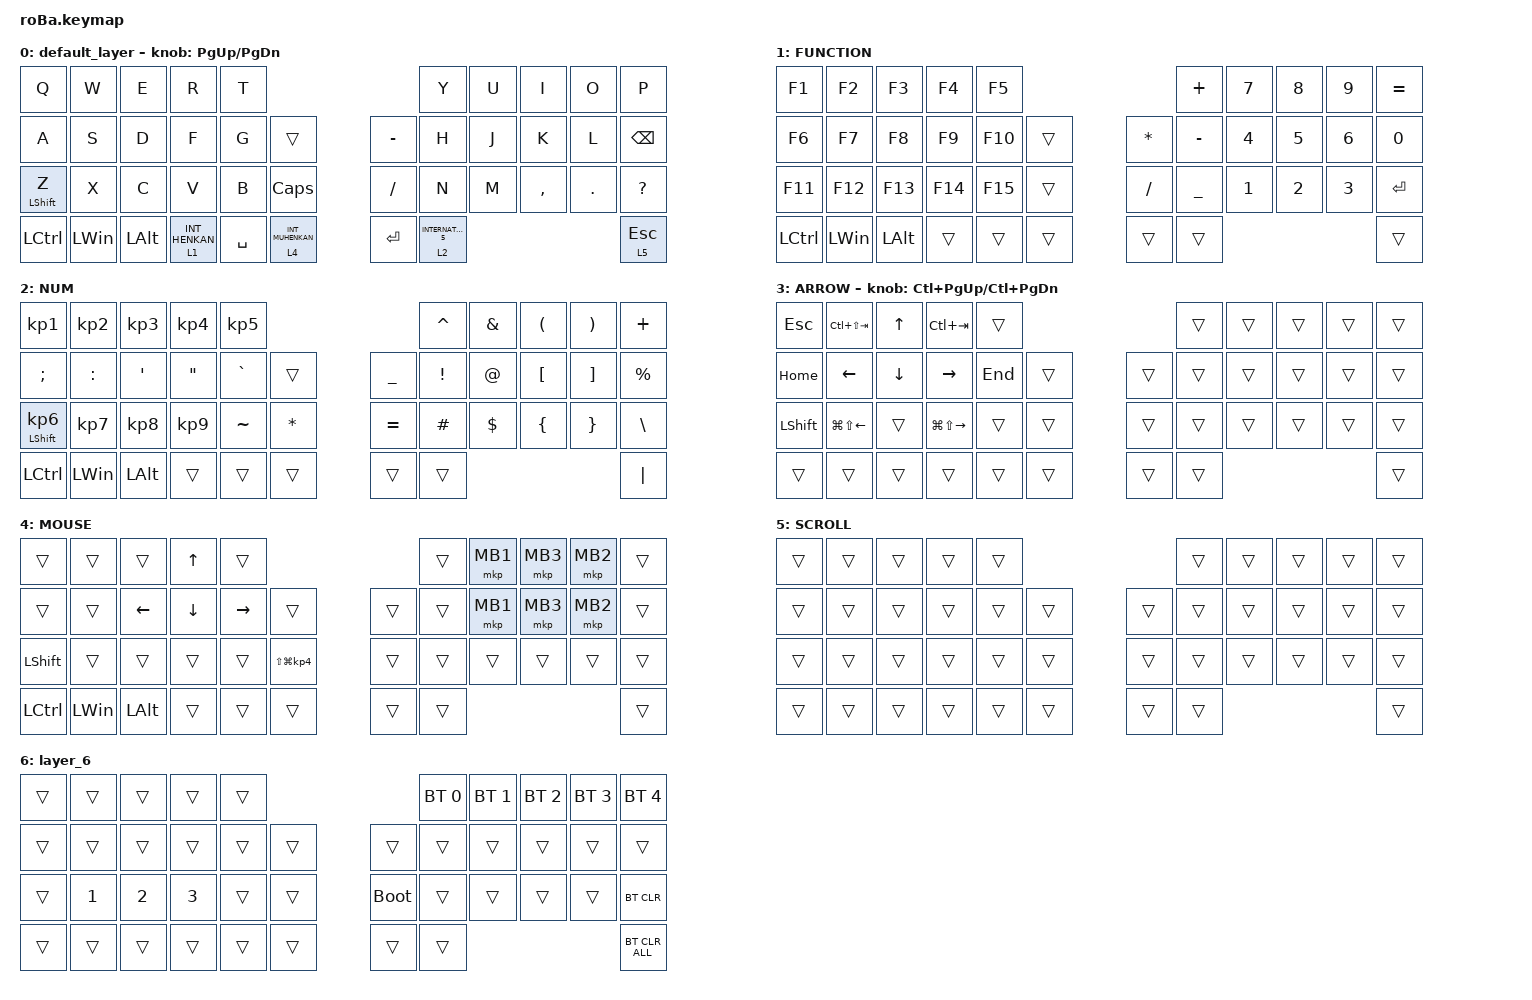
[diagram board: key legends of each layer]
#include <behaviors.dtsi>
#include <dt-bindings/zmk/bt.h>
#include <dt-bindings/zmk/keys.h>
#include <dt-bindings/zmk/pointing.h>

&mt {
    flavor = "balanced";
    quick-tap-ms = <0>;
};

&trackball {
    automouse-layer = <4>;
    scroll-layers = <5>;

    // arrows {
    //     layers = <3>;
    //     bindings =
    //         <&kp RIGHT_ARROW>,
    //         <&kp LEFT_ARROW>,
    //         <&kp UP_ARROW>,
    //         <&kp DOWN_ARROW>;
    //     tick = <10>;
    //     wait-ms = <5>;
    //     tap-ms = <5>;
    // };
};

/ {
    combos {
        compatible = "zmk,combos";

        tab {
            bindings = <&kp TAB>;
            key-positions = <11 12>;
        };

        shift_tab {
            bindings = <&kp LS(TAB)>;
            key-positions = <12 13>;
        };

        muhennkann {
            bindings = <&to_layer_0 INT_MUHENKAN>;
            key-positions = <11 10>;
        };

        double_quotation {
            bindings = <&kp DOUBLE_QUOTES>;
            key-positions = <20 21>;
        };

        eq {
            bindings = <&kp EQUAL>;
            key-positions = <24 25>;
        };
    };

    macros {
        to_layer_0: to_layer_0 {
            compatible = "zmk,behavior-macro-one-param";
            #binding-cells = <1>;
            bindings = <&to 0 &macro_param_1to1 &kp MACRO_PLACEHOLDER>;
            label = "TO_LAYER_0";
        };
    };

    behaviors {
        lt_to_layer_0: lt_to_layer_0 {
            compatible = "zmk,behavior-hold-tap";
            label = "LAYER_TAP_TO_0";
            bindings = <&mo>, <&to_layer_0>;

            #binding-cells = <2>;
            tapping-term-ms = <200>;
        };
    };

    keymap {
        compatible = "zmk,keymap";

        default_layer {
            bindings = <
&kp Q             &kp W         &kp E         &kp R                        &kp T                                                    &kp Y                  &kp U  &kp I      &kp O    &kp P
&kp A             &kp S         &kp D         &kp F                        &kp G      &trans                             &kp MINUS  &kp H                  &kp J  &kp K      &kp L    &kp BACKSPACE
&mt LEFT_SHIFT Z  &kp X         &kp C         &kp V                        &kp B      &kp CAPSLOCK                       &kp SLASH  &kp N                  &kp M  &kp COMMA  &kp DOT  &kp QUESTION
&kp LCTRL         &kp LEFT_WIN  &kp LEFT_ALT  &lt_to_layer_0 1 INT_HENKAN  &kp SPACE  &lt_to_layer_0 4 INT_MUHENKAN      &kp ENTER  &lt 2 INTERNATIONAL_5                             &lt 5 ESC
            >;

            sensor-bindings = <&inc_dec_kp PG_UP PAGE_DOWN>;
        };

        FUNCTION {
            bindings = <
&kp F1            &kp F2        &kp F3        &kp F4   &kp F5                             &kp PLUS        &kp NUMBER_7  &kp NUMBER_8  &kp NUMBER_9  &kp EQUAL
&kp F6            &kp F7        &kp F8        &kp F9   &kp F10  &trans      &kp ASTERISK  &kp MINUS       &kp NUMBER_4  &kp N5        &kp NUMBER_6  &kp NUMBER_0
&kp F11           &kp F12       &kp F13       &kp F14  &kp F15  &trans      &kp SLASH     &kp UNDERSCORE  &kp NUMBER_1  &kp NUMBER_2  &kp NUMBER_3  &kp ENTER
&kp LEFT_CONTROL  &kp LEFT_WIN  &kp LEFT_ALT  &trans   &trans   &trans      &trans        &trans                                                    &trans
            >;
        };

        NUM {
            bindings = <
&kp KP_NUMBER_1             &kp KP_NUMBER_2  &kp KP_NUMBER_3  &kp KP_NUMBER_4    &kp KP_NUMBER_5                                    &kp CARET        &kp AMPERSAND  &kp LEFT_PARENTHESIS  &kp RIGHT_PARENTHESIS  &kp PLUS
&kp SEMICOLON               &kp COLON        &kp SQT          &kp DOUBLE_QUOTES  &kp GRAVE        &trans            &kp UNDERSCORE  &kp EXCLAMATION  &kp AT_SIGN    &kp LEFT_BRACKET      &kp RIGHT_BRACKET      &kp PERCENT
&mt LEFT_SHIFT KP_NUMBER_6  &kp KP_NUMBER_7  &kp KP_NUMBER_8  &kp KP_NUMBER_9    &kp TILDE        &kp ASTERISK      &kp EQUAL       &kp HASH         &kp DOLLAR     &kp LEFT_BRACE        &kp RIGHT_BRACE        &kp BACKSLASH
&kp LEFT_CONTROL            &kp LEFT_WIN     &kp LEFT_ALT     &trans             &trans           &trans            &trans          &trans                                                                       &kp PIPE
            >;
        };

        ARROW {
            bindings = <
&kp ESCAPE      &kp LC(LS(TAB))         &kp UP_ARROW    &kp LC(TAB)              &trans                       &trans  &trans  &trans  &trans  &trans
&kp HOME        &kp LEFT_ARROW          &kp DOWN_ARROW  &kp RIGHT_ARROW          &kp END  &trans      &trans  &trans  &trans  &trans  &trans  &trans
&kp LEFT_SHIFT  &kp LG(LS(LEFT_ARROW))  &trans          &kp LG(LS(RIGHT_ARROW))  &trans   &trans      &trans  &trans  &trans  &trans  &trans  &trans
&trans          &trans                  &trans          &trans                   &trans   &trans      &trans  &trans                          &trans
            >;

            sensor-bindings = <&inc_dec_kp LC(PAGE_UP) LC(PAGE_DOWN)>;
        };

        MOUSE {
            bindings = <
&trans            &trans        &trans          &kp UP_ARROW    &trans                                                &trans  &mkp MB1  &mkp MB3  &mkp MB2  &trans
&trans            &trans        &kp LEFT_ARROW  &kp DOWN_ARROW  &kp RIGHT_ARROW  &trans                       &trans  &trans  &mkp MB1  &mkp MB3  &mkp MB2  &trans
&kp LEFT_SHIFT    &trans        &trans          &trans          &trans           &kp LS(LG(KP_NUMBER_4))      &trans  &trans  &trans    &trans    &trans    &trans
&kp LEFT_CONTROL  &kp LEFT_WIN  &kp LEFT_ALT    &trans          &trans           &trans                       &trans  &trans                                &trans
            >;
        };

        SCROLL {
            bindings = <
&trans  &trans  &trans  &trans  &trans                      &trans  &trans  &trans  &trans  &trans
&trans  &trans  &trans  &trans  &trans  &trans      &trans  &trans  &trans  &trans  &trans  &trans
&trans  &trans  &trans  &trans  &trans  &trans      &trans  &trans  &trans  &trans  &trans  &trans
&trans  &trans  &trans  &trans  &trans  &trans      &trans  &trans                          &trans
            >;
        };

        layer_6 {
            bindings = <
&trans  &trans        &trans        &trans        &trans                           &bt BT_SEL 0  &bt BT_SEL 1  &bt BT_SEL 2  &bt BT_SEL 3  &bt BT_SEL 4
&trans  &trans        &trans        &trans        &trans  &trans      &trans       &trans        &trans        &trans        &trans        &trans
&trans  &kp NUMBER_1  &kp NUMBER_2  &kp NUMBER_3  &trans  &trans      &bootloader  &trans        &trans        &trans        &trans        &bt BT_CLR
&trans  &trans        &trans        &trans        &trans  &trans      &trans       &trans                                                  &bt BT_CLR_ALL
            >;
        };
    };
};
